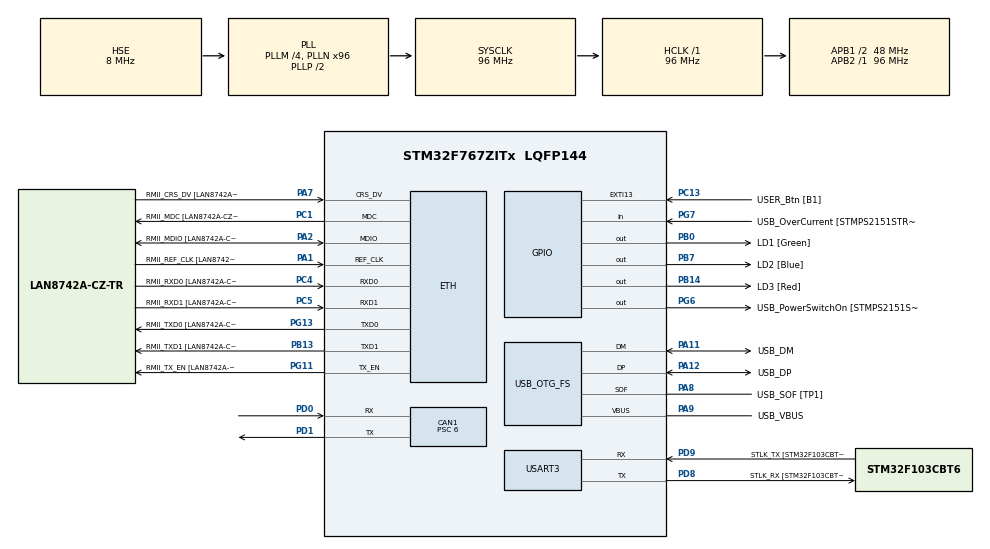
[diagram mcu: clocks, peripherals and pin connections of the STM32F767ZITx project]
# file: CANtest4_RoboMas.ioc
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CAN1.BS1=CAN_BS1_6TQ
CAN1.CalculateBaudRate=1000000
CAN1.CalculateTimeBit=1000
CAN1.CalculateTimeQuantum=125.0
CAN1.Prescaler=6
CAN1.TXFP=ENABLE
Dma.Request0=USART3_TX
Dma.USART3_TX.0.Direction=DMA_MEMORY_TO_PERIPH
Dma.USART3_TX.0.FIFOMode=DMA_FIFOMODE_DISABLE
Dma.USART3_TX.0.Instance=DMA1_Stream3
Dma.USART3_TX.0.MemDataAlignment=DMA_MDATAALIGN_BYTE
Dma.USART3_TX.0.MemInc=DMA_MINC_ENABLE
Dma.USART3_TX.0.Mode=DMA_NORMAL
Dma.USART3_TX.0.PeriphDataAlignment=DMA_PDATAALIGN_BYTE
Dma.USART3_TX.0.PeriphInc=DMA_PINC_DISABLE
Dma.USART3_TX.0.Priority=DMA_PRIORITY_LOW
ETH.MediaInterface=HAL_ETH_RMII_MODE
ETH.PHY_Name=LAN8742A_PHY_ADDRESS
ETH.PHY_Value=0
ETH.PhyAddress=0
Mcu.Family=STM32F7
Mcu.Name=STM32F767ZITx
Mcu.Package=LQFP144
NVIC.CAN1_RX0_IRQn=true\:0\:0\:false\:false\:true\:true\:true\:true
NVIC.CAN1_RX1_IRQn=true\:0\:0\:false\:false\:true\:true\:true\:true
NVIC.CAN1_TX_IRQn=true\:0\:0\:false\:false\:true\:true\:true\:true
NVIC.DMA1_Stream3_IRQn=true\:0\:0\:false\:false\:true\:false\:true\:true
NVIC.PriorityGroup=NVIC_PRIORITYGROUP_4
NVIC.USART3_IRQn=true\:0\:0\:false\:false\:true\:true\:true\:true
PA1.GPIO_Label=RMII_REF_CLK [LAN8742A-CZ-TR_REFCLK0]
PA1.Mode=RMII
PA1.Signal=ETH_REF_CLK
PA10.GPIO_Label=USB_ID
PA10.Signal=USB_OTG_FS_ID
PA11.GPIO_Label=USB_DM
PA11.Mode=Device_Only
PA11.Signal=USB_OTG_FS_DM
PA12.GPIO_Label=USB_DP
PA12.Mode=Device_Only
PA12.Signal=USB_OTG_FS_DP
PA13.GPIO_Label=TMS
PA13.Mode=Serial_Wire
PA13.Signal=SYS_JTMS-SWDIO
PA14.GPIO_Label=TCK
PA14.Mode=Serial_Wire
PA14.Signal=SYS_JTCK-SWCLK
PA2.GPIO_Label=RMII_MDIO [LAN8742A-CZ-TR_MDIO]
PA2.Mode=RMII
PA2.Signal=ETH_MDIO
PA7.GPIO_Label=RMII_CRS_DV [LAN8742A-CZ-TR_CRS_DV]
PA7.Mode=RMII
PA7.Signal=ETH_CRS_DV
PA8.GPIO_Label=USB_SOF [TP1]
PA8.Mode=Activate_SOF_FS
PA8.Signal=USB_OTG_FS_SOF
PA9.GPIO_Label=USB_VBUS
PA9.Mode=Activate_VBUS
PA9.Signal=USB_OTG_FS_VBUS
PB0.GPIO_Label=LD1 [Green]
PB0.Signal=GPIO_Output
PB13.GPIO_Label=RMII_TXD1 [LAN8742A-CZ-TR_TXD1]
PB13.Mode=RMII
PB13.Signal=ETH_TXD1
PB14.GPIO_Label=LD3 [Red]
PB14.Signal=GPIO_Output
PB3.GPIO_Label=SWO
PB3.Signal=SYS_JTDO-SWO
PB7.GPIO_Label=LD2 [Blue]
PB7.Signal=GPIO_Output
PC1.GPIO_Label=RMII_MDC [LAN8742A-CZ-TR_MDC]
PC1.Mode=RMII
PC1.Signal=ETH_MDC
PC13.GPIO_Label=USER_Btn [B1]
PC13.Signal=GPXTI13
PC14/OSC32_IN.Mode=LSE-External-Oscillator
PC14/OSC32_IN.Signal=RCC_OSC32_IN
PC15/OSC32_OUT.Mode=LSE-External-Oscillator
PC15/OSC32_OUT.Signal=RCC_OSC32_OUT
PC4.GPIO_Label=RMII_RXD0 [LAN8742A-CZ-TR_RXD0]
PC4.Mode=RMII
PC4.Signal=ETH_RXD0
PC5.GPIO_Label=RMII_RXD1 [LAN8742A-CZ-TR_RXD1]
PC5.Mode=RMII
PC5.Signal=ETH_RXD1
PD0.Mode=CAN_Activate
PD0.Signal=CAN1_RX
PD1.Mode=CAN_Activate
PD1.Signal=CAN1_TX
PD8.GPIO_Label=STLK_RX [STM32F103CBT6_PA3]
PD8.Mode=Asynchronous
PD8.Signal=USART3_TX
PD9.GPIO_Label=STLK_TX [STM32F103CBT6_PA2]
PD9.Mode=Asynchronous
PD9.Signal=USART3_RX
PG11.GPIO_Label=RMII_TX_EN [LAN8742A-CZ-TR_TXEN]
PG11.Mode=RMII
PG11.Signal=ETH_TX_EN
PG13.GPIO_Label=RMII_TXD0 [LAN8742A-CZ-TR_TXD0]
PG13.Mode=RMII
PG13.Signal=ETH_TXD0
PG6.GPIO_Label=USB_PowerSwitchOn [STMPS2151STR_EN]
PG6.Signal=GPIO_Output
PG7.GPIO_Label=USB_OverCurrent [STMPS2151STR_FAULT]
PG7.Signal=GPIO_Input
PH0/OSC_IN.GPIO_Label=MCO [STM32F103CBT6_PA8]
PH0/OSC_IN.Mode=HSE-External-Clock-Source
PH0/OSC_IN.Signal=RCC_OSC_IN
PH1/OSC_OUT.Mode=HSE-External-Clock-Source
PH1/OSC_OUT.Signal=RCC_OSC_OUT
ProjectManager.HeapSize=0x200
ProjectManager.StackSize=0x400
ProjectManager.TargetToolchain=STM32CubeIDE
RCC.48MHZClocksFreq_Value=24000000
RCC.AHBFreq_Value=96000000
RCC.APB1CLKDivider=RCC_HCLK_DIV2
RCC.APB1Freq_Value=48000000
RCC.APB1TimFreq_Value=96000000
RCC.APB2Freq_Value=96000000
RCC.APB2TimFreq_Value=96000000
RCC.CortexFreq_Value=96000000
RCC.HCLKFreq_Value=96000000
RCC.HSE_VALUE=8000000
RCC.HSI_VALUE=16000000
RCC.PLLM=4
RCC.PLLMUL=RCC_PLL_MUL9
RCC.PLLN=96
RCC.PLLQ=4
RCC.PRESCALERUSB=RCC_USBCLKSOURCE_PLL_DIV1_5
RCC.SYSCLKFreq_VALUE=96000000
RCC.SYSCLKSource=RCC_SYSCLKSOURCE_PLLCLK
RCC.SYSCLKSourceVirtual=RCC_SYSCLKSOURCE_PLLCLK
RCC.USBFreq_Value=48000000
RCC.VCOOutputFreq_Value=192000000
USART3.VirtualMode-Asynchronous=VM_ASYNC
USB_OTG_FS.VirtualMode=Device_Only
board=NUCLEO-F767ZI

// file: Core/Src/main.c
/* USER CODE BEGIN Header */
/**
  ******************************************************************************
  * @file           : main.c
  * @brief          : Main program body
  ******************************************************************************
  * @attention
  *
  * Copyright (c) 2023 STMicroelectronics.
  * All rights reserved.
  *
  * This software is licensed under terms that can be found in the LICENSE file
  * in the root directory of this software component.
  * If no LICENSE file comes with this software, it is provided AS-IS.
  *
  ******************************************************************************
  */
/* USER CODE END Header */
#include "main.h"
#include "string.h"

/* USER CODE BEGIN Includes */
#include "stdio.h"
#include "CAN_Main.h"
#include "CAN_C620_System.h"
#include "CAN_C620.h"
/* USER CODE END Includes */

#if defined ( __ICCARM__ ) /*!< IAR Compiler */
#pragma location=0x2007c000
ETH_DMADescTypeDef  DMARxDscrTab[ETH_RX_DESC_CNT]; /* Ethernet Rx DMA Descriptors */
#pragma location=0x2007c0a0
ETH_DMADescTypeDef  DMATxDscrTab[ETH_TX_DESC_CNT]; /* Ethernet Tx DMA Descriptors */

#elif defined ( __CC_ARM )  /* MDK ARM Compiler */

__attribute__((at(0x2007c000))) ETH_DMADescTypeDef  DMARxDscrTab[ETH_RX_DESC_CNT]; /* Ethernet Rx DMA Descriptors */
__attribute__((at(0x2007c0a0))) ETH_DMADescTypeDef  DMATxDscrTab[ETH_TX_DESC_CNT]; /* Ethernet Tx DMA Descriptors */

#elif defined ( __GNUC__ ) /* GNU Compiler */
ETH_DMADescTypeDef DMARxDscrTab[ETH_RX_DESC_CNT] __attribute__((section(".RxDecripSection"))); /* Ethernet Rx DMA Descriptors */
ETH_DMADescTypeDef DMATxDscrTab[ETH_TX_DESC_CNT] __attribute__((section(".TxDecripSection")));   /* Ethernet Tx DMA Descriptors */

#endif

ETH_TxPacketConfig TxConfig;

CAN_HandleTypeDef hcan1;

ETH_HandleTypeDef heth;

UART_HandleTypeDef huart3;
DMA_HandleTypeDef hdma_usart3_tx;

PCD_HandleTypeDef hpcd_USB_OTG_FS;

/* USER CODE BEGIN PV */
NUM_OF_DEVICES num_of_devices;
C620_DeviceInfo c620_dev_info_global[1];
C620_FeedbackData C620_fb;
uint8_t num_of_c620 = 1;
/* USER CODE END PV */

void SystemClock_Config(void);
static void MX_GPIO_Init(void);
static void MX_DMA_Init(void);
static void MX_USART3_UART_Init(void);
static void MX_ETH_Init(void);
static void MX_USB_OTG_FS_PCD_Init(void);
static void MX_CAN1_Init(void);

/* USER CODE BEGIN 0 */
#ifdef __GNUC__
#define PUTCHAR_PROTOTYPE int __io_putchar(uint8_t ch)
#else
#define PUTCHAR_PROTOTYPE int fputc(int ch, FILE *f)
#endif /* __GNUC__ */

PUTCHAR_PROTOTYPE {
    HAL_UART_Transmit(&huart3, &ch, 1, 500);
    return ch;
}
void HAL_CAN_TxMailbox0CompleteCallback(CAN_HandleTypeDef *hcan){
    C620_WhenTxMailboxCompleteCallbackCalled(hcan);
    WhenTxMailbox0_1_2CompleteCallbackCalled(hcan);
}

void HAL_CAN_TxMailbox0AbortCallback(CAN_HandleTypeDef *hcan){
    C620_WhenTxMailboxAbortCallbackCalled(hcan);
    WhenTxMailbox0_1_2AbortCallbackCalled(hcan);
}

void HAL_CAN_TxMailbox1CompleteCallback(CAN_HandleTypeDef *hcan){
    C620_WhenTxMailboxCompleteCallbackCalled(hcan);
    WhenTxMailbox0_1_2CompleteCallbackCalled(hcan);
}

void HAL_CAN_TxMailbox1AbortCallback(CAN_HandleTypeDef *hcan){
    C620_WhenTxMailboxAbortCallbackCalled(hcan);
    WhenTxMailbox0_1_2AbortCallbackCalled(hcan);
}

void HAL_CAN_TxMailbox2CompleteCallback(CAN_HandleTypeDef *hcan){
    C620_WhenTxMailboxCompleteCallbackCalled(hcan);
    WhenTxMailbox0_1_2CompleteCallbackCalled(hcan);
}

void HAL_CAN_TxMailbox2AbortCallback(CAN_HandleTypeDef *hcan){
    C620_WhenTxMailboxAbortCallbackCalled(hcan);
    WhenTxMailbox0_1_2AbortCallbackCalled(hcan);
}

void HAL_CAN_RxFifo0MsgPendingCallback(CAN_HandleTypeDef *hcan){
    WhenCANRxFifo0MsgPending(hcan, &num_of_devices);
}

void HAL_CAN_RxFifo1MsgPendingCallback(CAN_HandleTypeDef *hcan){
    C620_WhenCANRxFifo1MsgPending(hcan);
}
/* USER CODE END 0 */

int main(void)
{

  /* MCU Configuration--------------------------------------------------------*/

  /* Reset of all peripherals, Initializes the Flash interface and the Systick. */
  HAL_Init();

  /* Configure the system clock */
  SystemClock_Config();

  /* Initialize all configured peripherals */
  MX_GPIO_Init();
  MX_DMA_Init();
  MX_USART3_UART_Init();
  MX_ETH_Init();
  MX_USB_OTG_FS_PCD_Init();
  MX_CAN1_Init();
  /* USER CODE BEGIN 2 */
  Init_C620_CAN_System(&hcan1);  // Init CAN System for C620
  C620_Init(c620_dev_info_global, num_of_c620);

  c620_dev_info_global[0].device_id = 1;  // 1スタートな事に注意
  c620_dev_info_global[0].ctrl_param.accel_limit = C620_ACCEL_LIMIT_ENABLE;
  //c620_dev_info_global[0].ctrl_param.use_internal_offset = C620_USE_OFFSET_POS_CALIB;
  c620_dev_info_global[0].ctrl_param.use_internal_offset = C620_USE_OFFSET_POS_INTERNAL;
  c620_dev_info_global[0].ctrl_param.ctrl_type = C620_CTRL_VEL;
  c620_dev_info_global[0].ctrl_param.accel_limit_size = 15.0f;
  c620_dev_info_global[0].ctrl_param.quant_per_rot = 1.0f/19.0f / 3.0f * 3.141592f * 2.0f;  //M3508は19:1
  c620_dev_info_global[0].ctrl_param.rotation = C620_ROT_ACW;  // 半時計周り

  c620_dev_info_global[0].ctrl_param.pid_vel.kp = 4.5f;  // 位置制御の場合はpid_velに速度制御用のgainを設定する
  c620_dev_info_global[0].ctrl_param.pid_vel.ki = 0.0f;
  c620_dev_info_global[0].ctrl_param.pid_vel.kd = 0.0f;
  c620_dev_info_global[0].ctrl_param.pid_vel.kff = 0.0f;

  c620_dev_info_global[0].ctrl_param.pid.kp = 12.3f;  // 位置制御用
  c620_dev_info_global[0].ctrl_param.pid.ki = 0.16f;
  c620_dev_info_global[0].ctrl_param.pid.kd = 0.0f;
  c620_dev_info_global[0].ctrl_param.pid.kff = 0.0f;

  //C620_Calibration(&c620_dev_info_global[0], -2.0f, C620_SWITCH_NO, GPIOG, GPIO_PIN_1, &hcan1);  // calibration
  C620_SetTarget(&c620_dev_info_global[0], 10.0f);  // 目標値を設定
  C620_WaitForConnect(c620_dev_info_global, num_of_c620);  // C620の接続待ち
  C620_ControlEnable(&c620_dev_info_global[0]);
  for(;;){
	  C620_fb=Get_C620_FeedbackData(&(c620_dev_info_global[0]));
	  //printf("Vel of RoboMas: %d\n\r",(int)(C620_fb.velocity));
  }
  /* USER CODE END 2 */

  /* Infinite loop */
  while (1)
  {

  }
}

void SystemClock_Config(void)
{
  RCC_OscInitTypeDef RCC_OscInitStruct = {0};
  RCC_ClkInitTypeDef RCC_ClkInitStruct = {0};

  /** Configure LSE Drive Capability
  */
  HAL_PWR_EnableBkUpAccess();

  /** Configure the main internal regulator output voltage
  */
  __HAL_RCC_PWR_CLK_ENABLE();
  __HAL_PWR_VOLTAGESCALING_CONFIG(PWR_REGULATOR_VOLTAGE_SCALE3);

  /** Initializes the RCC Oscillators according to the specified parameters
  * in the RCC_OscInitTypeDef structure.
  */
  RCC_OscInitStruct.OscillatorType = RCC_OSCILLATORTYPE_HSE;
  RCC_OscInitStruct.HSEState = RCC_HSE_BYPASS;
  RCC_OscInitStruct.PLL.PLLState = RCC_PLL_ON;
  RCC_OscInitStruct.PLL.PLLSource = RCC_PLLSOURCE_HSE;
  RCC_OscInitStruct.PLL.PLLM = 4;
  RCC_OscInitStruct.PLL.PLLN = 96;
  RCC_OscInitStruct.PLL.PLLP = RCC_PLLP_DIV2;
  RCC_OscInitStruct.PLL.PLLQ = 4;
  RCC_OscInitStruct.PLL.PLLR = 2;
  if (HAL_RCC_OscConfig(&RCC_OscInitStruct) != HAL_OK)
  {
    Error_Handler();
  }

  /** Activate the Over-Drive mode
  */
  if (HAL_PWREx_EnableOverDrive() != HAL_OK)
  {
    Error_Handler();
  }

  /** Initializes the CPU, AHB and APB buses clocks
  */
  RCC_ClkInitStruct.ClockType = RCC_CLOCKTYPE_HCLK|RCC_CLOCKTYPE_SYSCLK
                              |RCC_CLOCKTYPE_PCLK1|RCC_CLOCKTYPE_PCLK2;
  RCC_ClkInitStruct.SYSCLKSource = RCC_SYSCLKSOURCE_PLLCLK;
  RCC_ClkInitStruct.AHBCLKDivider = RCC_SYSCLK_DIV1;
  RCC_ClkInitStruct.APB1CLKDivider = RCC_HCLK_DIV2;
  RCC_ClkInitStruct.APB2CLKDivider = RCC_HCLK_DIV1;

  if (HAL_RCC_ClockConfig(&RCC_ClkInitStruct, FLASH_LATENCY_3) != HAL_OK)
  {
    Error_Handler();
  }
}

static void MX_CAN1_Init(void)
{

  hcan1.Instance = CAN1;
  hcan1.Init.Prescaler = 6;
  hcan1.Init.Mode = CAN_MODE_NORMAL;
  hcan1.Init.SyncJumpWidth = CAN_SJW_1TQ;
  hcan1.Init.TimeSeg1 = CAN_BS1_6TQ;
  hcan1.Init.TimeSeg2 = CAN_BS2_1TQ;
  hcan1.Init.TimeTriggeredMode = DISABLE;
  hcan1.Init.AutoBusOff = DISABLE;
  hcan1.Init.AutoWakeUp = DISABLE;
  hcan1.Init.AutoRetransmission = DISABLE;
  hcan1.Init.ReceiveFifoLocked = DISABLE;
  hcan1.Init.TransmitFifoPriority = ENABLE;
  if (HAL_CAN_Init(&hcan1) != HAL_OK)
  {
    Error_Handler();
  }

}

static void MX_ETH_Init(void)
{

   static uint8_t MACAddr[6];

  heth.Instance = ETH;
  MACAddr[0] = 0x00;
  MACAddr[1] = 0x80;
  MACAddr[2] = 0xE1;
  MACAddr[3] = 0x00;
  MACAddr[4] = 0x00;
  MACAddr[5] = 0x00;
  heth.Init.MACAddr = &MACAddr[0];
  heth.Init.MediaInterface = HAL_ETH_RMII_MODE;
  heth.Init.TxDesc = DMATxDscrTab;
  heth.Init.RxDesc = DMARxDscrTab;
  heth.Init.RxBuffLen = 1524;

  if (HAL_ETH_Init(&heth) != HAL_OK)
  {
    Error_Handler();
  }

  memset(&TxConfig, 0 , sizeof(ETH_TxPacketConfig));
  TxConfig.Attributes = ETH_TX_PACKETS_FEATURES_CSUM | ETH_TX_PACKETS_FEATURES_CRCPAD;
  TxConfig.ChecksumCtrl = ETH_CHECKSUM_IPHDR_PAYLOAD_INSERT_PHDR_CALC;
  TxConfig.CRCPadCtrl = ETH_CRC_PAD_INSERT;

}

static void MX_USART3_UART_Init(void)
{

  huart3.Instance = USART3;
  huart3.Init.BaudRate = 115200;
  huart3.Init.WordLength = UART_WORDLENGTH_8B;
  huart3.Init.StopBits = UART_STOPBITS_1;
  huart3.Init.Parity = UART_PARITY_NONE;
  huart3.Init.Mode = UART_MODE_TX_RX;
  huart3.Init.HwFlowCtl = UART_HWCONTROL_NONE;
  huart3.Init.OverSampling = UART_OVERSAMPLING_16;
  huart3.Init.OneBitSampling = UART_ONE_BIT_SAMPLE_DISABLE;
  huart3.AdvancedInit.AdvFeatureInit = UART_ADVFEATURE_NO_INIT;
  if (HAL_UART_Init(&huart3) != HAL_OK)
  {
    Error_Handler();
  }

}

static void MX_USB_OTG_FS_PCD_Init(void)
{

  hpcd_USB_OTG_FS.Instance = USB_OTG_FS;
  hpcd_USB_OTG_FS.Init.dev_endpoints = 6;
  hpcd_USB_OTG_FS.Init.speed = PCD_SPEED_FULL;
  hpcd_USB_OTG_FS.Init.dma_enable = DISABLE;
  hpcd_USB_OTG_FS.Init.phy_itface = PCD_PHY_EMBEDDED;
  hpcd_USB_OTG_FS.Init.Sof_enable = ENABLE;
  hpcd_USB_OTG_FS.Init.low_power_enable = DISABLE;
  hpcd_USB_OTG_FS.Init.lpm_enable = DISABLE;
  hpcd_USB_OTG_FS.Init.vbus_sensing_enable = ENABLE;
  hpcd_USB_OTG_FS.Init.use_dedicated_ep1 = DISABLE;
  if (HAL_PCD_Init(&hpcd_USB_OTG_FS) != HAL_OK)
  {
    Error_Handler();
  }

}

static void MX_DMA_Init(void)
{

  /* DMA controller clock enable */
  __HAL_RCC_DMA1_CLK_ENABLE();

  /* DMA interrupt init */
  /* DMA1_Stream3_IRQn interrupt configuration */
  HAL_NVIC_SetPriority(DMA1_Stream3_IRQn, 0, 0);
  HAL_NVIC_EnableIRQ(DMA1_Stream3_IRQn);

}

static void MX_GPIO_Init(void)
{
  GPIO_InitTypeDef GPIO_InitStruct = {0};

  /* GPIO Ports Clock Enable */
  __HAL_RCC_GPIOC_CLK_ENABLE();
  __HAL_RCC_GPIOH_CLK_ENABLE();
  __HAL_RCC_GPIOA_CLK_ENABLE();
  __HAL_RCC_GPIOB_CLK_ENABLE();
  __HAL_RCC_GPIOD_CLK_ENABLE();
  __HAL_RCC_GPIOG_CLK_ENABLE();

  /*Configure GPIO pin Output Level */
  HAL_GPIO_WritePin(GPIOB, LD1_Pin|LD3_Pin|LD2_Pin, GPIO_PIN_RESET);

  /*Configure GPIO pin Output Level */
  HAL_GPIO_WritePin(USB_PowerSwitchOn_GPIO_Port, USB_PowerSwitchOn_Pin, GPIO_PIN_RESET);

  /*Configure GPIO pin : USER_Btn_Pin */
  GPIO_InitStruct.Pin = USER_Btn_Pin;
  GPIO_InitStruct.Mode = GPIO_MODE_IT_RISING;
  GPIO_InitStruct.Pull = GPIO_NOPULL;
  HAL_GPIO_Init(USER_Btn_GPIO_Port, &GPIO_InitStruct);

  /*Configure GPIO pins : LD1_Pin LD3_Pin LD2_Pin */
  GPIO_InitStruct.Pin = LD1_Pin|LD3_Pin|LD2_Pin;
  GPIO_InitStruct.Mode = GPIO_MODE_OUTPUT_PP;
  GPIO_InitStruct.Pull = GPIO_NOPULL;
  GPIO_InitStruct.Speed = GPIO_SPEED_FREQ_LOW;
  HAL_GPIO_Init(GPIOB, &GPIO_InitStruct);

  /*Configure GPIO pin : USB_PowerSwitchOn_Pin */
  GPIO_InitStruct.Pin = USB_PowerSwitchOn_Pin;
  GPIO_InitStruct.Mode = GPIO_MODE_OUTPUT_PP;
  GPIO_InitStruct.Pull = GPIO_NOPULL;
  GPIO_InitStruct.Speed = GPIO_SPEED_FREQ_LOW;
  HAL_GPIO_Init(USB_PowerSwitchOn_GPIO_Port, &GPIO_InitStruct);

  /*Configure GPIO pin : USB_OverCurrent_Pin */
  GPIO_InitStruct.Pin = USB_OverCurrent_Pin;
  GPIO_InitStruct.Mode = GPIO_MODE_INPUT;
  GPIO_InitStruct.Pull = GPIO_NOPULL;
  HAL_GPIO_Init(USB_OverCurrent_GPIO_Port, &GPIO_InitStruct);

}

void Error_Handler(void)
{
  __disable_irq();
  while (1)
  {
  }
}
